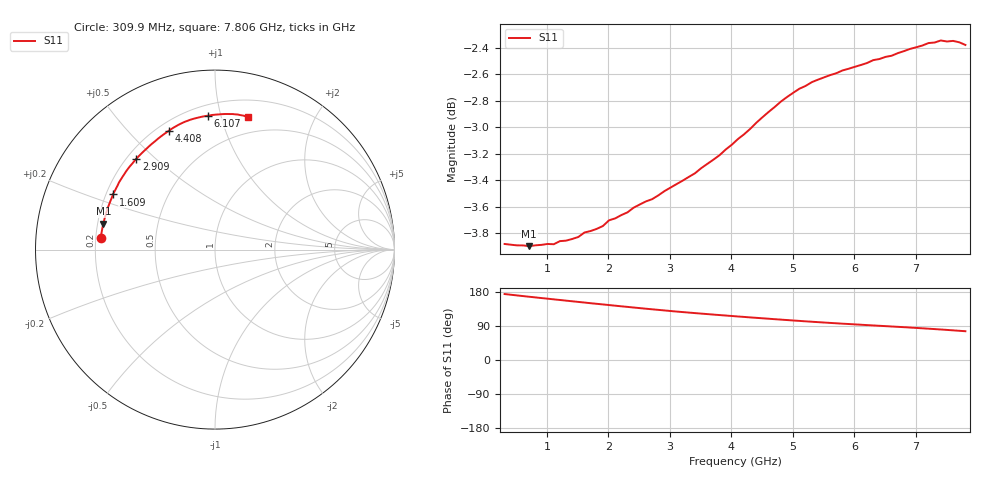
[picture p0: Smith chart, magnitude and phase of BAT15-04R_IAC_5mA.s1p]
! Infineon Technologies  Discrete & RF Semiconductors
! BAT15-04R
! IAC = 5 mA
! One-Port S-Parameters
# Hz  S  MA  R  50
!f  S11
!Hz  Mag  Ang
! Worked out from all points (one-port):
!   76 points, 309.9 MHz to 7.806 GHz, reference 50 ohm
!   lowest |S11| = -3.9 dB at 709.6 MHz (marker M1), VSWR 4.53, Z = 11.2 + j5.46 ohm
!   |S11| at or under -10 dB: nowhere
!   S11 on the Smith chart (normalised r, x): 309.9 MHz: 0.22, +0.05; 1.609 GHz: 0.23, +0.24; 2.909 GHz: 0.24, +0.44; 4.408 GHz: 0.24, +0.66; 6.107 GHz: 0.27, +0.91; 7.806 GHz: 0.35, +1.22
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3.0985e8  0.6396 174.0
6.097e8  0.6388 168.7
7.0965e8  0.6384 166.9
1.0095e9  0.6396 161.8
1.30935e9  0.6415 156.6
1.6092e9  0.646 151.6
1.90905e9  0.6497 146.7
2.009e9  0.6529 145.0
2.2089e9  0.6559 141.7
2.4088e9  0.6601 138.5
2.6087e9  0.6637 135.3
2.90855e9  0.6696 130.8
3.2084e9  0.6758 126.5
3.50825e9  0.6831 122.4
4.10795e9  0.7007 114.8
4.4078e9  0.7107 111.3
4.70765e9  0.7205 107.7
5.0075e9  0.7294 104.2
5.4073e9  0.7377 99.9
5.8071e9  0.7436 95.9
6.007e9  0.746 94.0
6.10695e9  0.7472 93.1
6.30685e9  0.7503 91.2
6.90655e9  0.7577 85.6
7.2064e9  0.7615 82.6
7.4063e9  0.7633 80.5
7.6062e9  0.763 78.2
7.8061e9  0.7603 75.9
